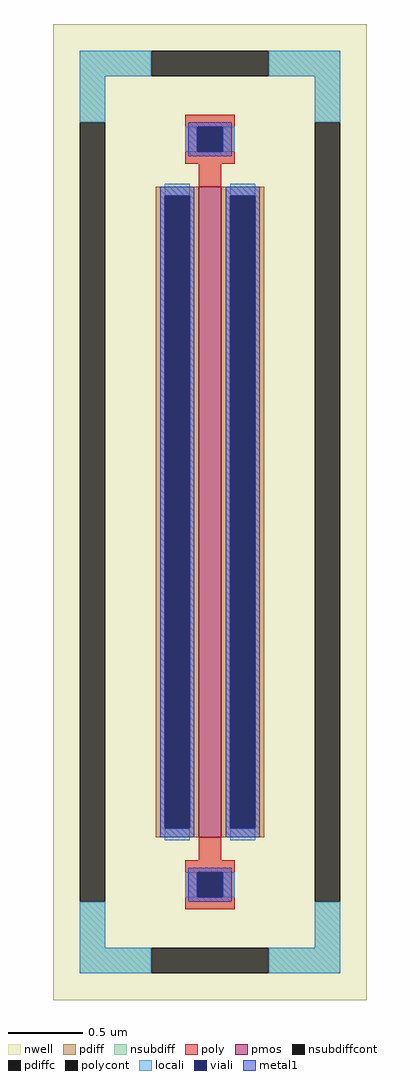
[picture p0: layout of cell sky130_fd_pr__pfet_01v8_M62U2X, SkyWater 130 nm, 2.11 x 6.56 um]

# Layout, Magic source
magic
tech sky130A
magscale 1 2
<< nwell >>
rect -211 -656 211 656
<< pmos >>
rect -15 -437 15 437
<< pdiff >>
rect -73 425 -15 437
rect -73 -425 -61 425
rect -27 -425 -15 425
rect -73 -437 -15 -425
rect 15 425 73 437
rect 15 -425 27 425
rect 61 -425 73 425
rect 15 -437 73 -425
<< pdiffc >>
rect -61 -425 -27 425
rect 27 -425 61 425
<< nsubdiff >>
rect -175 586 -79 620
rect 79 586 175 620
rect -175 524 -141 586
rect 141 524 175 586
rect -175 -586 -141 -524
rect 141 -586 175 -524
rect -175 -620 -79 -586
rect 79 -620 175 -586
<< nsubdiffcont >>
rect -79 586 79 620
rect -175 -524 -141 524
rect 141 -524 175 524
rect -79 -620 79 -586
<< poly >>
rect -33 518 33 534
rect -33 484 -17 518
rect 17 484 33 518
rect -33 468 33 484
rect -15 437 15 468
rect -15 -468 15 -437
rect -33 -484 33 -468
rect -33 -518 -17 -484
rect 17 -518 33 -484
rect -33 -534 33 -518
<< polycont >>
rect -17 484 17 518
rect -17 -518 17 -484
<< locali >>
rect -175 586 -79 620
rect 79 586 175 620
rect -175 524 -141 586
rect 141 524 175 586
rect -33 484 -17 518
rect 17 484 33 518
rect -61 425 -27 441
rect -61 -441 -27 -425
rect 27 425 61 441
rect 27 -441 61 -425
rect -33 -518 -17 -484
rect 17 -518 33 -484
rect -175 -586 -141 -524
rect 141 -586 175 -524
rect -175 -620 -79 -586
rect 79 -620 175 -586
<< viali >>
rect -17 484 17 518
rect -61 -425 -27 425
rect 27 -425 61 425
rect -17 -518 17 -484
<< metal1 >>
rect -29 518 29 524
rect -29 484 -17 518
rect 17 484 29 518
rect -29 478 29 484
rect -67 425 -21 437
rect -67 -425 -61 425
rect -27 -425 -21 425
rect -67 -437 -21 -425
rect 21 425 67 437
rect 21 -425 27 425
rect 61 -425 67 425
rect 21 -437 67 -425
rect -29 -484 29 -478
rect -29 -518 -17 -484
rect 17 -518 29 -484
rect -29 -524 29 -518
<< properties >>
string FIXED_BBOX -158 -603 158 603
string gencell sky130_fd_pr__pfet_01v8
string library sky130
string parameters w 4.37 l 0.15 m 1 nf 1 diffcov 100 polycov 100 guard 1 glc 1 grc 1 gtc 1 gbc 1 tbcov 100 rlcov 100 topc 1 botc 1 poverlap 0 doverlap 1 lmin 0.15 wmin 0.42 compatible {sky130_fd_pr__pfet_01v8  sky130_fd_pr__pfet_01v8_lvt sky130_fd_pr__pfet_01v8_hvt  sky130_fd_pr__pfet_g5v0d10v5} full_metal 1 viasrc 100 viadrn 100 viagate 100 viagb 0 viagr 0 viagl 0 viagt 0
<< end >>
